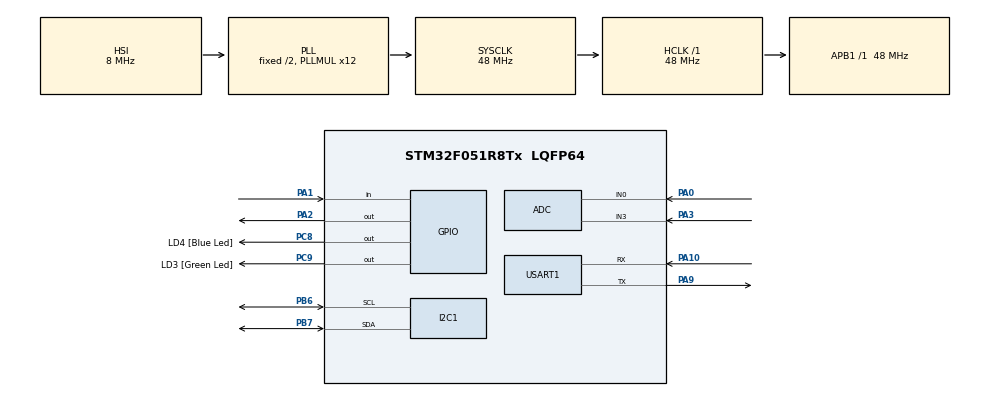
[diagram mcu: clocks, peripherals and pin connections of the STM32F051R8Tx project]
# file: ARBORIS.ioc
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I2C1.Timing=0x00201D2B
Mcu.Family=STM32F0
Mcu.Name=STM32F051R8Tx
Mcu.Package=LQFP64
PA0.Mode=IN0
PA0.Signal=ADC_IN0
PA1.Signal=GPIO_Input
PA10.Mode=Asynchronous
PA10.Signal=USART1_RX
PA13.GPIO_Label=SWDIO
PA13.Mode=Serial_Wire
PA13.Signal=SYS_SWDIO
PA14.GPIO_Label=SWCLK
PA14.Mode=Serial_Wire
PA14.Signal=SYS_SWCLK
PA2.GPIO_ModeDefaultOutputPP=GPIO_MODE_OUTPUT_OD
PA2.GPIO_PuPd=GPIO_NOPULL
PA2.Signal=GPIO_Output
PA3.Mode=IN3
PA3.Signal=ADC_IN3
PA9.Mode=Asynchronous
PA9.Signal=USART1_TX
PB6.Mode=I2C
PB6.Signal=I2C1_SCL
PB7.Mode=I2C
PB7.Signal=I2C1_SDA
PC8.GPIO_Label=LD4 [Blue Led]
PC8.Signal=GPIO_Output
PC9.GPIO_Label=LD3 [Green Led]
PC9.Signal=GPIO_Output
ProjectManager.HeapSize=0x200
ProjectManager.StackSize=0x400
ProjectManager.TargetToolchain=STM32CubeIDE
RCC.AHBFreq_Value=48000000
RCC.APB1Freq_Value=48000000
RCC.APB1TimFreq_Value=48000000
RCC.HCLKFreq_Value=48000000
RCC.PLLMUL=RCC_PLL_MUL12
RCC.SYSCLKFreq_VALUE=48000000
RCC.SYSCLKSource=RCC_SYSCLKSOURCE_PLLCLK
TIM14.Prescaler=47
USART1.VirtualMode-Asynchronous=VM_ASYNC
VP_TIM14_VS_ClockSourceINT.Mode=Enable_Timer
board=STM32F0DISCOVERY

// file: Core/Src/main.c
/* USER CODE BEGIN Header */
/**
  ******************************************************************************
  * @file           : main.c
  * @brief          : Main program body
  ******************************************************************************
  * @attention
  *
  * Copyright (c) 2026 STMicroelectronics.
  * All rights reserved.
  *
  * This software is licensed under terms that can be found in the LICENSE file
  * in the root directory of this software component.
  * If no LICENSE file comes with this software, it is provided AS-IS.
  *
  ******************************************************************************
  */
/* USER CODE END Header */
#include "main.h"

/* USER CODE BEGIN Includes */
#include <stdio.h>
#include <string.h>

/* USER CODE END Includes */

/* USER CODE BEGIN PD */
#define PIN_SENSOR_LLUVIA GPIO_PIN_1
#define PIN_SENSOR_DHT22  GPIO_PIN_2
#define PUERTO_SENSORES   GPIOA
#define DHT22_TIMEOUT_US  3000u
#define MPU6050_DIR_7BIT_0      (0x68u)
#define MPU6050_DIR_7BIT_1      (0x69u)
#define MPU6050_DIR_HAL_0       (MPU6050_DIR_7BIT_0 << 1)
#define MPU6050_DIR_HAL_1       (MPU6050_DIR_7BIT_1 << 1)
#define MPU6050_REG_WHO_AM_I   (0x75u)
#define MPU6050_REG_PWR_MGMT_1 (0x6Bu)
#define MPU6050_REG_ACCEL_XOUT_H (0x3Bu)
#define ESTADO_RIESGO_VERDE    (0u)
#define ESTADO_RIESGO_AMARILLO (1u)
#define ESTADO_RIESGO_ROJO     (2u)
#define LLUVIA_INTENSIDAD_NULA   (0u)
#define LLUVIA_INTENSIDAD_LEVE   (1u)
#define LLUVIA_INTENSIDAD_MEDIA  (2u)
#define LLUVIA_INTENSIDAD_FUERTE (3u)
#define ADC_CANAL_HUMEDAD_SUELO ADC_CHANNEL_0
#define ADC_CANAL_LLUVIA_AO     ADC_CHANNEL_3

/* USER CODE END PD */

ADC_HandleTypeDef hadc;

I2C_HandleTypeDef hi2c1;

TIM_HandleTypeDef htim14;

UART_HandleTypeDef huart1;

/* USER CODE BEGIN PV */
volatile uint16_t humedad_suelo_adc_crudo = 0;
volatile float humedad_suelo_voltaje = 0.0f;
volatile float humedad_suelo_porcentaje = 0.0f;
volatile uint8_t lluvia_do_crudo = 0;
volatile uint8_t lluvia_activa = 0;
volatile uint32_t lluvia_do_crudo_dbg = 0;
volatile uint32_t lluvia_activa_dbg = 0;
volatile uint16_t lluvia_ao_adc_crudo = 0;
volatile float lluvia_ao_voltaje = 0.0f;
volatile float lluvia_ao_nivel_pct = 0.0f;
volatile float lluvia_ao_nivel_agua_pct = 0.0f;
volatile float lluvia_ao_nivel_agua_calibrado_pct = 0.0f;
volatile uint16_t lluvia_ao_adc_ref_seco = 3850;
volatile uint16_t lluvia_ao_adc_ref_mojado = 3600;
volatile float umbral_lluvia_leve_pct = 20.0f;
volatile float umbral_lluvia_media_pct = 50.0f;
volatile float umbral_lluvia_fuerte_pct = 80.0f;
volatile uint32_t lluvia_intensidad_dbg = LLUVIA_INTENSIDAD_NULA;
volatile float temperatura_ambiente_c = 0.0f;
volatile float humedad_ambiente_pct = 0.0f;
volatile uint32_t dht22_lectura_valida_dbg = 0;
volatile uint32_t dht22_checksum_ok_dbg = 0;
volatile uint32_t dht22_muestreo_us_dbg = 48;
volatile uint32_t mpu6050_conectado_dbg = 0;
volatile uint32_t mpu6050_whoami_dbg = 0;
volatile uint32_t mpu6050_direccion_dbg = 0;
volatile int16_t  mpu6050_acel_x = 0;
volatile int16_t  mpu6050_acel_y = 0;
volatile int16_t  mpu6050_acel_z = 0;
volatile int16_t  mpu6050_gyro_x = 0;
volatile int16_t  mpu6050_gyro_y = 0;
volatile int16_t  mpu6050_gyro_z = 0;
static uint16_t mpu6050_direccion_activa_hal = 0;
volatile float umbral_humedad_alta_pct = 70.0f;
volatile float umbral_humedad_saturada_pct = 85.0f;
volatile int16_t umbral_vibracion_gyro_abs = 250;
volatile uint32_t vibracion_anomala_dbg = 0;
volatile uint32_t estado_riesgo_dbg = ESTADO_RIESGO_VERDE;

/* USER CODE END PV */

void SystemClock_Config(void);
static void MX_GPIO_Init(void);
static void MX_ADC_Init(void);
static void MX_TIM14_Init(void);
static void MX_I2C1_Init(void);
static void MX_USART1_UART_Init(void);
/* USER CODE BEGIN PFP */
static void SensorHumedadSuelo_Actualizar(void);
static void SensorLluvia_Actualizar(void);
static uint16_t ADC_LeerCanal(uint32_t canal);
static void DHT22_DelayUs(uint32_t us);
static uint8_t DHT22_LeerBit(void);
static uint8_t DHT22_LeerDatos(uint8_t datos[5]);
static void SensorDHT22_Actualizar(void);
static void SensorMPU6050_Inicializar(void);
static void SensorMPU6050_Actualizar(void);
static void EstadoRiesgo_Actualizar(void);
static void Bluetooth_EnviarTrama(void);

/* USER CODE END PFP */

int main(void)
{

  /* MCU Configuration--------------------------------------------------------*/

  /* Reset of all peripherals, Initializes the Flash interface and the Systick. */
  HAL_Init();

  /* Configure the system clock */
  SystemClock_Config();

  /* Initialize all configured peripherals */
  MX_GPIO_Init();
  MX_ADC_Init();
  MX_TIM14_Init();
  MX_I2C1_Init();
  MX_USART1_UART_Init();
  /* USER CODE BEGIN 2 */
  HAL_TIM_Base_Start(&htim14);
  SensorMPU6050_Inicializar();

  /* USER CODE END 2 */

  /* Infinite loop */
  while (1)
  {

    /* USER CODE BEGIN 3 */
    SensorHumedadSuelo_Actualizar();
    SensorLluvia_Actualizar();
    SensorDHT22_Actualizar();
    SensorMPU6050_Actualizar();
    EstadoRiesgo_Actualizar();
    Bluetooth_EnviarTrama();
    HAL_Delay(1000);
  }
  /* USER CODE END 3 */
}

void SystemClock_Config(void)
{
  RCC_OscInitTypeDef RCC_OscInitStruct = {0};
  RCC_ClkInitTypeDef RCC_ClkInitStruct = {0};
  RCC_PeriphCLKInitTypeDef PeriphClkInit = {0};

  /** Initializes the RCC Oscillators according to the specified parameters
  * in the RCC_OscInitTypeDef structure.
  */
  RCC_OscInitStruct.OscillatorType = RCC_OSCILLATORTYPE_HSI|RCC_OSCILLATORTYPE_HSI14;
  RCC_OscInitStruct.HSIState = RCC_HSI_ON;
  RCC_OscInitStruct.HSI14State = RCC_HSI14_ON;
  RCC_OscInitStruct.HSICalibrationValue = RCC_HSICALIBRATION_DEFAULT;
  RCC_OscInitStruct.HSI14CalibrationValue = 16;
  RCC_OscInitStruct.PLL.PLLState = RCC_PLL_ON;
  RCC_OscInitStruct.PLL.PLLSource = RCC_PLLSOURCE_HSI;
  RCC_OscInitStruct.PLL.PLLMUL = RCC_PLL_MUL12;
  RCC_OscInitStruct.PLL.PREDIV = RCC_PREDIV_DIV1;
  if (HAL_RCC_OscConfig(&RCC_OscInitStruct) != HAL_OK)
  {
    Error_Handler();
  }

  /** Initializes the CPU, AHB and APB buses clocks
  */
  RCC_ClkInitStruct.ClockType = RCC_CLOCKTYPE_HCLK|RCC_CLOCKTYPE_SYSCLK
                              |RCC_CLOCKTYPE_PCLK1;
  RCC_ClkInitStruct.SYSCLKSource = RCC_SYSCLKSOURCE_PLLCLK;
  RCC_ClkInitStruct.AHBCLKDivider = RCC_SYSCLK_DIV1;
  RCC_ClkInitStruct.APB1CLKDivider = RCC_HCLK_DIV1;

  if (HAL_RCC_ClockConfig(&RCC_ClkInitStruct, FLASH_LATENCY_1) != HAL_OK)
  {
    Error_Handler();
  }
  PeriphClkInit.PeriphClockSelection = RCC_PERIPHCLK_USART1|RCC_PERIPHCLK_I2C1;
  PeriphClkInit.Usart1ClockSelection = RCC_USART1CLKSOURCE_PCLK1;
  PeriphClkInit.I2c1ClockSelection = RCC_I2C1CLKSOURCE_HSI;
  if (HAL_RCCEx_PeriphCLKConfig(&PeriphClkInit) != HAL_OK)
  {
    Error_Handler();
  }
}

static void MX_ADC_Init(void)
{

  ADC_ChannelConfTypeDef sConfig = {0};

  /** Configure the global features of the ADC (Clock, Resolution, Data Alignment and number of conversion)
  */
  hadc.Instance = ADC1;
  hadc.Init.ClockPrescaler = ADC_CLOCK_ASYNC_DIV1;
  hadc.Init.Resolution = ADC_RESOLUTION_12B;
  hadc.Init.DataAlign = ADC_DATAALIGN_RIGHT;
  hadc.Init.ScanConvMode = ADC_SCAN_DIRECTION_FORWARD;
  hadc.Init.EOCSelection = ADC_EOC_SINGLE_CONV;
  hadc.Init.LowPowerAutoWait = DISABLE;
  hadc.Init.LowPowerAutoPowerOff = DISABLE;
  hadc.Init.ContinuousConvMode = DISABLE;
  hadc.Init.DiscontinuousConvMode = DISABLE;
  hadc.Init.ExternalTrigConv = ADC_SOFTWARE_START;
  hadc.Init.ExternalTrigConvEdge = ADC_EXTERNALTRIGCONVEDGE_NONE;
  hadc.Init.DMAContinuousRequests = DISABLE;
  hadc.Init.Overrun = ADC_OVR_DATA_PRESERVED;
  if (HAL_ADC_Init(&hadc) != HAL_OK)
  {
    Error_Handler();
  }

  /** Configure for the selected ADC regular channel to be converted.
  */
  sConfig.Channel = ADC_CHANNEL_0;
  sConfig.Rank = ADC_RANK_CHANNEL_NUMBER;
  sConfig.SamplingTime = ADC_SAMPLETIME_1CYCLE_5;
  if (HAL_ADC_ConfigChannel(&hadc, &sConfig) != HAL_OK)
  {
    Error_Handler();
  }

  /** Configure for the selected ADC regular channel to be converted.
  */
  sConfig.Channel = ADC_CHANNEL_3;
  if (HAL_ADC_ConfigChannel(&hadc, &sConfig) != HAL_OK)
  {
    Error_Handler();
  }

}

static void MX_I2C1_Init(void)
{

  hi2c1.Instance = I2C1;
  hi2c1.Init.Timing = 0x00201D2B;
  hi2c1.Init.OwnAddress1 = 0;
  hi2c1.Init.AddressingMode = I2C_ADDRESSINGMODE_7BIT;
  hi2c1.Init.DualAddressMode = I2C_DUALADDRESS_DISABLE;
  hi2c1.Init.OwnAddress2 = 0;
  hi2c1.Init.OwnAddress2Masks = I2C_OA2_NOMASK;
  hi2c1.Init.GeneralCallMode = I2C_GENERALCALL_DISABLE;
  hi2c1.Init.NoStretchMode = I2C_NOSTRETCH_DISABLE;
  if (HAL_I2C_Init(&hi2c1) != HAL_OK)
  {
    Error_Handler();
  }

  /** Configure Analogue filter
  */
  if (HAL_I2CEx_ConfigAnalogFilter(&hi2c1, I2C_ANALOGFILTER_ENABLE) != HAL_OK)
  {
    Error_Handler();
  }

  /** Configure Digital filter
  */
  if (HAL_I2CEx_ConfigDigitalFilter(&hi2c1, 0) != HAL_OK)
  {
    Error_Handler();
  }

}

static void MX_TIM14_Init(void)
{

  htim14.Instance = TIM14;
  htim14.Init.Prescaler = 47;
  htim14.Init.CounterMode = TIM_COUNTERMODE_UP;
  htim14.Init.Period = 65535;
  htim14.Init.ClockDivision = TIM_CLOCKDIVISION_DIV1;
  htim14.Init.AutoReloadPreload = TIM_AUTORELOAD_PRELOAD_DISABLE;
  if (HAL_TIM_Base_Init(&htim14) != HAL_OK)
  {
    Error_Handler();
  }

}

static void MX_USART1_UART_Init(void)
{

  huart1.Instance = USART1;
  huart1.Init.BaudRate = 38400;
  huart1.Init.WordLength = UART_WORDLENGTH_8B;
  huart1.Init.StopBits = UART_STOPBITS_1;
  huart1.Init.Parity = UART_PARITY_NONE;
  huart1.Init.Mode = UART_MODE_TX_RX;
  huart1.Init.HwFlowCtl = UART_HWCONTROL_NONE;
  huart1.Init.OverSampling = UART_OVERSAMPLING_16;
  huart1.Init.OneBitSampling = UART_ONE_BIT_SAMPLE_DISABLE;
  huart1.AdvancedInit.AdvFeatureInit = UART_ADVFEATURE_NO_INIT;
  if (HAL_UART_Init(&huart1) != HAL_OK)
  {
    Error_Handler();
  }

}

static void MX_GPIO_Init(void)
{
  GPIO_InitTypeDef GPIO_InitStruct = {0};

  /* GPIO Ports Clock Enable */
  __HAL_RCC_GPIOA_CLK_ENABLE();
  __HAL_RCC_GPIOC_CLK_ENABLE();
  __HAL_RCC_GPIOB_CLK_ENABLE();

  /*Configure GPIO pin Output Level */
  HAL_GPIO_WritePin(GPIOA, GPIO_PIN_2, GPIO_PIN_RESET);

  /*Configure GPIO pin Output Level */
  HAL_GPIO_WritePin(GPIOC, LD4_Pin|LD3_Pin, GPIO_PIN_RESET);

  /*Configure GPIO pin : PA1 */
  GPIO_InitStruct.Pin = GPIO_PIN_1;
  GPIO_InitStruct.Mode = GPIO_MODE_INPUT;
  GPIO_InitStruct.Pull = GPIO_NOPULL;
  HAL_GPIO_Init(GPIOA, &GPIO_InitStruct);

  /*Configure GPIO pin : PA2 */
  GPIO_InitStruct.Pin = GPIO_PIN_2;
  GPIO_InitStruct.Mode = GPIO_MODE_OUTPUT_OD;
  GPIO_InitStruct.Pull = GPIO_NOPULL;
  GPIO_InitStruct.Speed = GPIO_SPEED_FREQ_LOW;
  HAL_GPIO_Init(GPIOA, &GPIO_InitStruct);

  /*Configure GPIO pins : LD4_Pin LD3_Pin */
  GPIO_InitStruct.Pin = LD4_Pin|LD3_Pin;
  GPIO_InitStruct.Mode = GPIO_MODE_OUTPUT_PP;
  GPIO_InitStruct.Pull = GPIO_NOPULL;
  GPIO_InitStruct.Speed = GPIO_SPEED_FREQ_LOW;
  HAL_GPIO_Init(GPIOC, &GPIO_InitStruct);

  /* USER CODE BEGIN MX_GPIO_Init_2 */
  /* PA1 = entrada digital del sensor de lluvia (DO de YL-83). */
  GPIO_InitStruct.Pin = GPIO_PIN_1;
  GPIO_InitStruct.Mode = GPIO_MODE_INPUT;
  GPIO_InitStruct.Pull = GPIO_PULLUP;
  HAL_GPIO_Init(GPIOA, &GPIO_InitStruct);

  /* USER CODE END MX_GPIO_Init_2 */
}

/* USER CODE BEGIN 4 */
static void SensorHumedadSuelo_Actualizar(void)
{
  humedad_suelo_adc_crudo = ADC_LeerCanal(ADC_CANAL_HUMEDAD_SUELO);
  humedad_suelo_voltaje = (3.3f * (float)humedad_suelo_adc_crudo) / 4095.0f;

  /* Initial inverse mapping: wet ~= low ADC, dry ~= high ADC. */
  humedad_suelo_porcentaje = 100.0f - (((float)humedad_suelo_adc_crudo / 4095.0f) * 100.0f);

  if (humedad_suelo_porcentaje < 0.0f)
  {
    humedad_suelo_porcentaje = 0.0f;
  }
  else if (humedad_suelo_porcentaje > 100.0f)
  {
    humedad_suelo_porcentaje = 100.0f;
  }
}

static void SensorLluvia_Actualizar(void)
{
  /*
   * En la mayoria de modulos YL-83 con comparador LM393:
   * DO = 0 cuando detecta agua (lluvia activa),
   * DO = 1 cuando no hay lluvia.
   */
  lluvia_do_crudo = (uint8_t)HAL_GPIO_ReadPin(PUERTO_SENSORES, PIN_SENSOR_LLUVIA);
  lluvia_activa = (lluvia_do_crudo == GPIO_PIN_RESET) ? 1u : 0u;
  lluvia_do_crudo_dbg = (uint32_t)lluvia_do_crudo;
  lluvia_activa_dbg = (uint32_t)lluvia_activa;

  lluvia_ao_adc_crudo = ADC_LeerCanal(ADC_CANAL_LLUVIA_AO);
  lluvia_ao_voltaje = (3.3f * (float)lluvia_ao_adc_crudo) / 4095.0f;
  lluvia_ao_nivel_pct = ((float)lluvia_ao_adc_crudo / 4095.0f) * 100.0f;
  lluvia_ao_nivel_agua_pct = 100.0f - lluvia_ao_nivel_pct;

  /* Nivel calibrado usando referencias en campo (seco/mojado). */
  if (lluvia_ao_adc_ref_seco > lluvia_ao_adc_ref_mojado)
  {
    float rango = (float)(lluvia_ao_adc_ref_seco - lluvia_ao_adc_ref_mojado);
    lluvia_ao_nivel_agua_calibrado_pct =
      (((float)lluvia_ao_adc_ref_seco - (float)lluvia_ao_adc_crudo) / rango) * 100.0f;
  }
  else
  {
    lluvia_ao_nivel_agua_calibrado_pct = 0.0f;
  }

  if (lluvia_ao_nivel_agua_calibrado_pct < 0.0f)
  {
    lluvia_ao_nivel_agua_calibrado_pct = 0.0f;
  }
  else if (lluvia_ao_nivel_agua_calibrado_pct > 100.0f)
  {
    lluvia_ao_nivel_agua_calibrado_pct = 100.0f;
  }

  if (lluvia_activa_dbg == 0u)
  {
    lluvia_intensidad_dbg = LLUVIA_INTENSIDAD_NULA;
  }
  else if (lluvia_ao_nivel_agua_calibrado_pct >= umbral_lluvia_fuerte_pct)
  {
    lluvia_intensidad_dbg = LLUVIA_INTENSIDAD_FUERTE;
  }
  else if (lluvia_ao_nivel_agua_calibrado_pct >= umbral_lluvia_media_pct)
  {
    lluvia_intensidad_dbg = LLUVIA_INTENSIDAD_MEDIA;
  }
  else if (lluvia_ao_nivel_agua_calibrado_pct >= umbral_lluvia_leve_pct)
  {
    lluvia_intensidad_dbg = LLUVIA_INTENSIDAD_LEVE;
  }
  else
  {
    lluvia_intensidad_dbg = LLUVIA_INTENSIDAD_NULA;
  }
}

static uint16_t ADC_LeerCanal(uint32_t canal)
{
  ADC_ChannelConfTypeDef sConfig = {0};
  uint16_t valor = 0;

  sConfig.Channel = canal;
  sConfig.Rank = ADC_RANK_CHANNEL_NUMBER;
  sConfig.SamplingTime = ADC_SAMPLETIME_1CYCLE_5;

  if (HAL_ADC_ConfigChannel(&hadc, &sConfig) != HAL_OK)
  {
    return 0;
  }

  HAL_ADC_Start(&hadc);
  if (HAL_ADC_PollForConversion(&hadc, 10) == HAL_OK)
  {
    valor = (uint16_t)HAL_ADC_GetValue(&hadc);
  }
  HAL_ADC_Stop(&hadc);
  return valor;
}

static void DHT22_DelayUs(uint32_t us)
{
  __HAL_TIM_SET_COUNTER(&htim14, 0u);
  while (__HAL_TIM_GET_COUNTER(&htim14) < us)
  {
  }
}

static uint8_t DHT22_LeerBit(void)
{
  uint32_t timeout = 0;

  /* Espera flanco a nivel alto (fin del pulso bajo de inicio de bit). */
  while (HAL_GPIO_ReadPin(PUERTO_SENSORES, PIN_SENSOR_DHT22) == GPIO_PIN_RESET)
  {
    if (++timeout > 1000u)
    {
      return 0u;
    }
  }

  /* Muestreo del bit (ajustable para corregir checksum). */
  DHT22_DelayUs(dht22_muestreo_us_dbg);
  if (HAL_GPIO_ReadPin(PUERTO_SENSORES, PIN_SENSOR_DHT22) == GPIO_PIN_SET)
  {
    /* Espera a que baje para finalizar la ventana del bit. */
    timeout = 0;
    while (HAL_GPIO_ReadPin(PUERTO_SENSORES, PIN_SENSOR_DHT22) == GPIO_PIN_SET)
    {
      if (++timeout > 1000u)
      {
        break;
      }
    }
    return 1u;
  }
  return 0u;
}

static uint8_t DHT22_LeerDatos(uint8_t datos[5])
{
  uint32_t timeout = 0;
  uint8_t i = 0;
  uint8_t j = 0;

  memset(datos, 0, 5);

  /* 1) Solicitud al sensor: pull-down >= 1ms. */
  GPIOA->MODER &= ~(GPIO_MODER_MODER2_Msk);
  GPIOA->MODER |= (1u << GPIO_MODER_MODER2_Pos); /* PA2 output */
  HAL_GPIO_WritePin(PUERTO_SENSORES, PIN_SENSOR_DHT22, GPIO_PIN_RESET);
  HAL_Delay(2);
  HAL_GPIO_WritePin(PUERTO_SENSORES, PIN_SENSOR_DHT22, GPIO_PIN_SET);
  DHT22_DelayUs(30u);

  /* 2) Cambia pin a entrada para recibir respuesta. */
  GPIOA->MODER &= ~(GPIO_MODER_MODER2_Msk); /* PA2 input */

  /* Respuesta sensor: bajo ~80us y alto ~80us. */
  timeout = 0;
  while (HAL_GPIO_ReadPin(PUERTO_SENSORES, PIN_SENSOR_DHT22) == GPIO_PIN_SET)
  {
    if (++timeout > DHT22_TIMEOUT_US)
    {
      return 0u;
    }
  }
  timeout = 0;
  while (HAL_GPIO_ReadPin(PUERTO_SENSORES, PIN_SENSOR_DHT22) == GPIO_PIN_RESET)
  {
    if (++timeout > DHT22_TIMEOUT_US)
    {
      return 0u;
    }
  }
  timeout = 0;
  while (HAL_GPIO_ReadPin(PUERTO_SENSORES, PIN_SENSOR_DHT22) == GPIO_PIN_SET)
  {
    if (++timeout > DHT22_TIMEOUT_US)
    {
      return 0u;
    }
  }

  /* 3) Lee 40 bits (5 bytes). */
  for (i = 0; i < 5; i++)
  {
    for (j = 0; j < 8; j++)
    {
      datos[i] <<= 1;
      datos[i] |= DHT22_LeerBit();
    }
  }

  return 1u;
}

static void SensorDHT22_Actualizar(void)
{
  uint8_t datos[5];
  uint16_t hum_cruda = 0;
  int16_t temp_cruda = 0;
  uint8_t checksum = 0;

  dht22_lectura_valida_dbg = (uint32_t)DHT22_LeerDatos(datos);
  dht22_checksum_ok_dbg = 0u;

  if (dht22_lectura_valida_dbg == 0u)
  {
    return;
  }

  checksum = (uint8_t)(datos[0] + datos[1] + datos[2] + datos[3]);
  if (checksum != datos[4])
  {
    return;
  }

  dht22_checksum_ok_dbg = 1u;

  hum_cruda = (uint16_t)(((uint16_t)datos[0] << 8) | datos[1]);
  humedad_ambiente_pct = ((float)hum_cruda) / 10.0f;

  temp_cruda = (int16_t)(((uint16_t)(datos[2] & 0x7Fu) << 8) | datos[3]);
  temperatura_ambiente_c = ((float)temp_cruda) / 10.0f;
  if ((datos[2] & 0x80u) != 0u)
  {
    temperatura_ambiente_c = -temperatura_ambiente_c;
  }
}

static void SensorMPU6050_Inicializar(void)
{
  uint8_t whoami = 0u;
  uint8_t salir_sleep = 0u;

  if (HAL_I2C_Mem_Read(&hi2c1, MPU6050_DIR_HAL_0, MPU6050_REG_WHO_AM_I, I2C_MEMADD_SIZE_8BIT, &whoami, 1, 100) == HAL_OK)
  {
    mpu6050_direccion_activa_hal = MPU6050_DIR_HAL_0;
    mpu6050_direccion_dbg = MPU6050_DIR_7BIT_0;
  }
  else if (HAL_I2C_Mem_Read(&hi2c1, MPU6050_DIR_HAL_1, MPU6050_REG_WHO_AM_I, I2C_MEMADD_SIZE_8BIT, &whoami, 1, 100) == HAL_OK)
  {
    mpu6050_direccion_activa_hal = MPU6050_DIR_HAL_1;
    mpu6050_direccion_dbg = MPU6050_DIR_7BIT_1;
  }

  if (mpu6050_direccion_activa_hal != 0u)
  {
    mpu6050_whoami_dbg = whoami;
    if ((whoami == MPU6050_DIR_7BIT_0) || (whoami == MPU6050_DIR_7BIT_1))
    {
      if (HAL_I2C_Mem_Write(&hi2c1, mpu6050_direccion_activa_hal, MPU6050_REG_PWR_MGMT_1, I2C_MEMADD_SIZE_8BIT, &salir_sleep, 1, 100) == HAL_OK)
      {
        mpu6050_conectado_dbg = 1u;
      }
    }
  }
}

static void SensorMPU6050_Actualizar(void)
{
  uint8_t buffer[14];

  if (mpu6050_conectado_dbg == 0u)
  {
    return;
  }

  if (HAL_I2C_Mem_Read(&hi2c1, mpu6050_direccion_activa_hal, MPU6050_REG_ACCEL_XOUT_H, I2C_MEMADD_SIZE_8BIT, buffer, 14, 100) != HAL_OK)
  {
    return;
  }

  mpu6050_acel_x = (int16_t)((buffer[0] << 8) | buffer[1]);
  mpu6050_acel_y = (int16_t)((buffer[2] << 8) | buffer[3]);
  mpu6050_acel_z = (int16_t)((buffer[4] << 8) | buffer[5]);

  mpu6050_gyro_x = (int16_t)((buffer[8] << 8) | buffer[9]);
  mpu6050_gyro_y = (int16_t)((buffer[10] << 8) | buffer[11]);
  mpu6050_gyro_z = (int16_t)((buffer[12] << 8) | buffer[13]);
}

static void EstadoRiesgo_Actualizar(void)
{
  int16_t abs_gx = (mpu6050_gyro_x < 0) ? (int16_t)(-mpu6050_gyro_x) : mpu6050_gyro_x;
  int16_t abs_gy = (mpu6050_gyro_y < 0) ? (int16_t)(-mpu6050_gyro_y) : mpu6050_gyro_y;
  int16_t abs_gz = (mpu6050_gyro_z < 0) ? (int16_t)(-mpu6050_gyro_z) : mpu6050_gyro_z;

  vibracion_anomala_dbg = ((abs_gx > umbral_vibracion_gyro_abs) ||
                           (abs_gy > umbral_vibracion_gyro_abs) ||
                           (abs_gz > umbral_vibracion_gyro_abs)) ? 1u : 0u;

  if ((humedad_suelo_porcentaje >= umbral_humedad_saturada_pct) &&
      (lluvia_activa_dbg == 1u) &&
      (vibracion_anomala_dbg == 1u))
  {
    estado_riesgo_dbg = ESTADO_RIESGO_ROJO;
  }
  else if ((humedad_suelo_porcentaje >= umbral_humedad_alta_pct) ||
           (lluvia_activa_dbg == 1u) ||
           (vibracion_anomala_dbg == 1u))
  {
    estado_riesgo_dbg = ESTADO_RIESGO_AMARILLO;
  }
  else
  {
    estado_riesgo_dbg = ESTADO_RIESGO_VERDE;
  }
}

static void Bluetooth_EnviarTrama(void)
{
  char mensaje[256];
  int longitud = 0;
  int hs_x10 = (int)(humedad_suelo_porcentaje * 10.0f);
  int lla_x10 = (int)(lluvia_ao_nivel_agua_calibrado_pct * 10.0f);
  int ta_x10 = (int)(temperatura_ambiente_c * 10.0f);
  int ha_x10 = (int)(humedad_ambiente_pct * 10.0f);

  longitud = snprintf(
    mensaje,
    sizeof(mensaje),
    "HS_X10:%d,HS_ADC:%u,LLD:%lu,LLA_X10:%d,LLA_ADC:%u,TA_X10:%d,HA_X10:%d,AX:%d,AY:%d,AZ:%d,GX:%d,GY:%d,GZ:%d\r\n",
    hs_x10,
    (unsigned int)humedad_suelo_adc_crudo,
    (unsigned long)lluvia_activa_dbg,
    lla_x10,
    (unsigned int)lluvia_ao_adc_crudo,
    ta_x10,
    ha_x10,
    (int)mpu6050_acel_x,
    (int)mpu6050_acel_y,
    (int)mpu6050_acel_z,
    (int)mpu6050_gyro_x,
    (int)mpu6050_gyro_y,
    (int)mpu6050_gyro_z
  );

  if (longitud > 0)
  {
    HAL_UART_Transmit(&huart1, (uint8_t *)mensaje, (uint16_t)longitud, 100);
  }
}

/* USER CODE END 4 */

void Error_Handler(void)
{
  __disable_irq();
  while (1)
  {
  }
}
